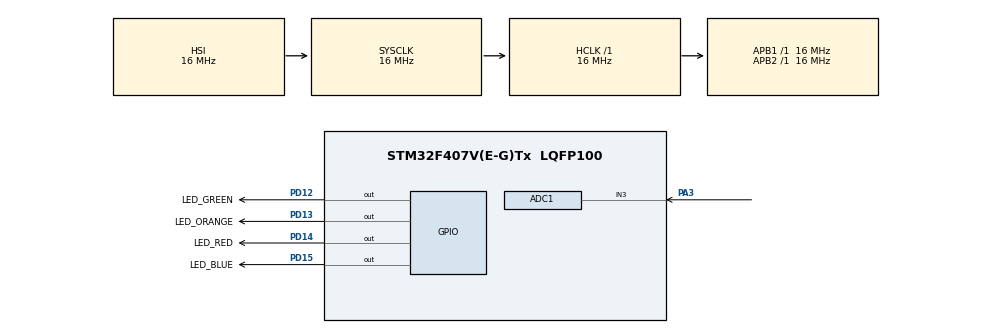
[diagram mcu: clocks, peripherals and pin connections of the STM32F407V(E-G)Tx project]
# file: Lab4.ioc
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ADC1.Channel-0\#ChannelRegularConversion=ADC_CHANNEL_3
ADC1.ClockPrescaler=ADC_CLOCK_SYNC_PCLK_DIV8
ADC1.NbrOfConversionFlag=1
ADC1.Rank-0\#ChannelRegularConversion=1
ADC1.SamplingTime-0\#ChannelRegularConversion=ADC_SAMPLETIME_480CYCLES
ADC1.master=1
Mcu.Family=STM32F4
Mcu.Name=STM32F407V(E-G)Tx
Mcu.Package=LQFP100
NVIC.ADC_IRQn=true\:0\:0\:false\:false\:true\:true\:true\:true
NVIC.PriorityGroup=NVIC_PRIORITYGROUP_4
PA3.Signal=ADCx_IN3
PD12.GPIO_Label=LED_GREEN
PD12.Signal=GPIO_Output
PD13.GPIO_Label=LED_ORANGE
PD13.Signal=GPIO_Output
PD14.GPIO_Label=LED_RED
PD14.Signal=GPIO_Output
PD15.GPIO_Label=LED_BLUE
PD15.Signal=GPIO_Output
ProjectManager.HeapSize=0x200
ProjectManager.StackSize=0x400
ProjectManager.TargetToolchain=STM32CubeIDE
RCC.AHBFreq_Value=16000000
RCC.APB1Freq_Value=16000000
RCC.APB2Freq_Value=16000000
RCC.CortexFreq_Value=16000000
RCC.HSE_VALUE=25000000
RCC.HSI_VALUE=16000000
RCC.LSE_VALUE=32768
RCC.SYSCLKFreq_VALUE=16000000
RCC.VCOOutputFreq_Value=192000000
SH.ADCx_IN3.0=ADC1_IN3,IN3
board=custom

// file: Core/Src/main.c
/* USER CODE BEGIN Header */
/**
  ******************************************************************************
  * @file           : main.c
  * @brief          : Main program body
  ******************************************************************************
  * @attention
  *
  * Copyright (c) 2023 STMicroelectronics.
  * All rights reserved.
  *
  * This software is licensed under terms that can be found in the LICENSE file
  * in the root directory of this software component.
  * If no LICENSE file comes with this software, it is provided AS-IS.
  *
  ******************************************************************************
  */
/* USER CODE END Header */
#include "main.h"

ADC_HandleTypeDef hadc1;

void SystemClock_Config(void);
static void MX_GPIO_Init(void);
static void MX_ADC1_Init(void);
/* USER CODE BEGIN PFP */

void HAL_ADC_ConvCpltCallback(ADC_HandleTypeDef* hadc)
{
	uint32_t adcValue;

	if(hadc->Instance == ADC1)
	{
		adcValue = HAL_ADC_GetValue(&hadc1);

		if (adcValue <= 819)
		{
			HAL_GPIO_WritePin(GPIOD, LED_GREEN_Pin, GPIO_PIN_RESET);
		}
		else if (adcValue <= 1638)
		{
			HAL_GPIO_WritePin(GPIOD, LED_GREEN_Pin, GPIO_PIN_SET);
			HAL_GPIO_WritePin(GPIOD, LED_ORANGE_Pin, GPIO_PIN_RESET);
		}
		else if (adcValue <= 2457)
		{
			HAL_GPIO_WritePin(GPIOD, LED_ORANGE_Pin, GPIO_PIN_SET);
			HAL_GPIO_WritePin(GPIOD, LED_RED_Pin, GPIO_PIN_RESET);
		}
		else if (adcValue <= 3276)
		{
			HAL_GPIO_WritePin(GPIOD, LED_RED_Pin, GPIO_PIN_SET);
			HAL_GPIO_WritePin(GPIOD, LED_BLUE_Pin, GPIO_PIN_RESET);
		}
		else
		{
			HAL_GPIO_WritePin(GPIOD, LED_BLUE_Pin, GPIO_PIN_SET);
		}

		HAL_ADC_Start_IT(&hadc1);
	}
}
/* USER CODE END PFP */

int main(void)
{

  /* MCU Configuration--------------------------------------------------------*/

  /* Reset of all peripherals, Initializes the Flash interface and the Systick. */
  HAL_Init();

  /* Configure the system clock */
  SystemClock_Config();

  /* Initialize all configured peripherals */
  MX_GPIO_Init();
  MX_ADC1_Init();
  /* USER CODE BEGIN 2 */

HAL_ADC_Start_IT(&hadc1);

  /* USER CODE END 2 */

  /* Infinite loop */
  while (1)
  {

  }
}

void SystemClock_Config(void)
{
  RCC_OscInitTypeDef RCC_OscInitStruct = {0};
  RCC_ClkInitTypeDef RCC_ClkInitStruct = {0};

  /** Configure the main internal regulator output voltage
  */
  __HAL_RCC_PWR_CLK_ENABLE();
  __HAL_PWR_VOLTAGESCALING_CONFIG(PWR_REGULATOR_VOLTAGE_SCALE1);

  /** Initializes the RCC Oscillators according to the specified parameters
  * in the RCC_OscInitTypeDef structure.
  */
  RCC_OscInitStruct.OscillatorType = RCC_OSCILLATORTYPE_HSI;
  RCC_OscInitStruct.HSIState = RCC_HSI_ON;
  RCC_OscInitStruct.HSICalibrationValue = RCC_HSICALIBRATION_DEFAULT;
  RCC_OscInitStruct.PLL.PLLState = RCC_PLL_NONE;
  if (HAL_RCC_OscConfig(&RCC_OscInitStruct) != HAL_OK)
  {
    Error_Handler();
  }

  /** Initializes the CPU, AHB and APB buses clocks
  */
  RCC_ClkInitStruct.ClockType = RCC_CLOCKTYPE_HCLK|RCC_CLOCKTYPE_SYSCLK
                              |RCC_CLOCKTYPE_PCLK1|RCC_CLOCKTYPE_PCLK2;
  RCC_ClkInitStruct.SYSCLKSource = RCC_SYSCLKSOURCE_HSI;
  RCC_ClkInitStruct.AHBCLKDivider = RCC_SYSCLK_DIV1;
  RCC_ClkInitStruct.APB1CLKDivider = RCC_HCLK_DIV1;
  RCC_ClkInitStruct.APB2CLKDivider = RCC_HCLK_DIV1;

  if (HAL_RCC_ClockConfig(&RCC_ClkInitStruct, FLASH_LATENCY_0) != HAL_OK)
  {
    Error_Handler();
  }
}

static void MX_ADC1_Init(void)
{

  ADC_ChannelConfTypeDef sConfig = {0};

  /** Configure the global features of the ADC (Clock, Resolution, Data Alignment and number of conversion)
  */
  hadc1.Instance = ADC1;
  hadc1.Init.ClockPrescaler = ADC_CLOCK_SYNC_PCLK_DIV8;
  hadc1.Init.Resolution = ADC_RESOLUTION_12B;
  hadc1.Init.ScanConvMode = DISABLE;
  hadc1.Init.ContinuousConvMode = DISABLE;
  hadc1.Init.DiscontinuousConvMode = DISABLE;
  hadc1.Init.ExternalTrigConvEdge = ADC_EXTERNALTRIGCONVEDGE_NONE;
  hadc1.Init.ExternalTrigConv = ADC_SOFTWARE_START;
  hadc1.Init.DataAlign = ADC_DATAALIGN_RIGHT;
  hadc1.Init.NbrOfConversion = 1;
  hadc1.Init.DMAContinuousRequests = DISABLE;
  hadc1.Init.EOCSelection = ADC_EOC_SINGLE_CONV;
  if (HAL_ADC_Init(&hadc1) != HAL_OK)
  {
    Error_Handler();
  }

  /** Configure for the selected ADC regular channel its corresponding rank in the sequencer and its sample time.
  */
  sConfig.Channel = ADC_CHANNEL_3;
  sConfig.Rank = 1;
  sConfig.SamplingTime = ADC_SAMPLETIME_480CYCLES;
  if (HAL_ADC_ConfigChannel(&hadc1, &sConfig) != HAL_OK)
  {
    Error_Handler();
  }

}

static void MX_GPIO_Init(void)
{
  GPIO_InitTypeDef GPIO_InitStruct = {0};

  /* GPIO Ports Clock Enable */
  __HAL_RCC_GPIOA_CLK_ENABLE();
  __HAL_RCC_GPIOD_CLK_ENABLE();

  /*Configure GPIO pin Output Level */
  HAL_GPIO_WritePin(GPIOD, LED_GREEN_Pin|LED_ORANGE_Pin|LED_RED_Pin|LED_BLUE_Pin, GPIO_PIN_RESET);

  /*Configure GPIO pins : LED_GREEN_Pin LED_ORANGE_Pin LED_RED_Pin LED_BLUE_Pin */
  GPIO_InitStruct.Pin = LED_GREEN_Pin|LED_ORANGE_Pin|LED_RED_Pin|LED_BLUE_Pin;
  GPIO_InitStruct.Mode = GPIO_MODE_OUTPUT_PP;
  GPIO_InitStruct.Pull = GPIO_NOPULL;
  GPIO_InitStruct.Speed = GPIO_SPEED_FREQ_LOW;
  HAL_GPIO_Init(GPIOD, &GPIO_InitStruct);

}

void Error_Handler(void)
{
  __disable_irq();
  while (1)
  {
  }
}
